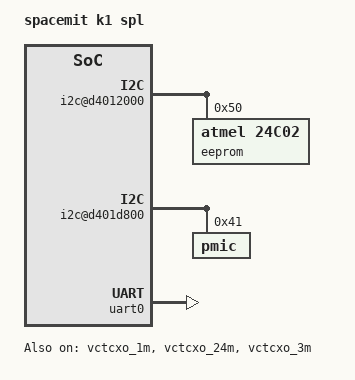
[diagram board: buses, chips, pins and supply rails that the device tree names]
// SPDX-License-Identifier: GPL-2.0-or-later OR MIT
/*
 * Copyright (C) 2023-2026 Spacemit, Inc
 * Copyright (C) 2025-2026 RISCstar Ltd.
 */

/dts-v1/;

#include "k1.dtsi"

/ {
	model = "spacemit k1 spl";

	aliases {
		console = &uart0;
		serial0 = &uart0;
	};

	chosen {
		stdout-path = "serial0:115200n8";
	};

	binman {
		u-boot-spl-ddr {
			type = "section";
			filename = "u-boot-spl-ddr.bin";
			pad-byte = <0xff>;

			u-boot-spl {
			};

			ddr-fw {
				type = "blob";
				filename = "ddr_fw.bin";
				align = <64>;
			};

			u-boot-any {
				type = "section";
				size = <0>;
				offset = <0>;
			};
		};
	};
};

&vctcxo_1m {
	status = "okay";
	bootph-pre-ram;
};

&vctcxo_24m {
	status = "okay";
	bootph-pre-ram;
};

&vctcxo_3m {
	status = "okay";
	bootph-pre-ram;
};

&osc_32k {
	status = "okay";
	bootph-pre-ram;
};

&soc {
	bootph-all;
	system-controller@d4050000 {
		status = "okay";
		bootph-pre-ram;
	};
	clock-controller@d4090000 {
		status = "okay";
		bootph-pre-ram;
	};
	system-controller@d4282800 {
		status = "okay";
		bootph-pre-ram;
	};
	system-controller@d4015000 {
		clocks = <&osc_32k>, <&vctcxo_1m>, <&vctcxo_3m>,
			 <&vctcxo_24m>, <&syscon_mpmu CLK_PLL1_31P5>,
			 <&pll CLK_PLL1_D4>;
		clock-names = "osc", "vctcxo_1m", "vctcxo_3m",
			      "vctcxo_24m", "pll1_d78_31p5", "pll1_d4";
		status = "okay";
		bootph-pre-ram;
	};

	i2c@d4012000 {		/* i2c2 */
		status = "okay";
		bootph-pre-ram;
		eeprom: eeprom {
			compatible = "atmel,24c02";
			reg = <0x50>;
			status = "okay";
			bootph-pre-ram;
		};
	};

	i2c@d401d800 {		/* i2c8 */
		status = "okay";
		bootph-pre-ram;
		pmic@41 {
			compatible = "pmic";
			reg = <0x41>;
			status = "okay";
			bootph-pre-ram;
		};
	};

	reset-controller@d4050000 {
		status = "okay";
		bootph-pre-ram;
	};
};

&uart0 {
	status = "okay";
	bootph-pre-ram;
};
